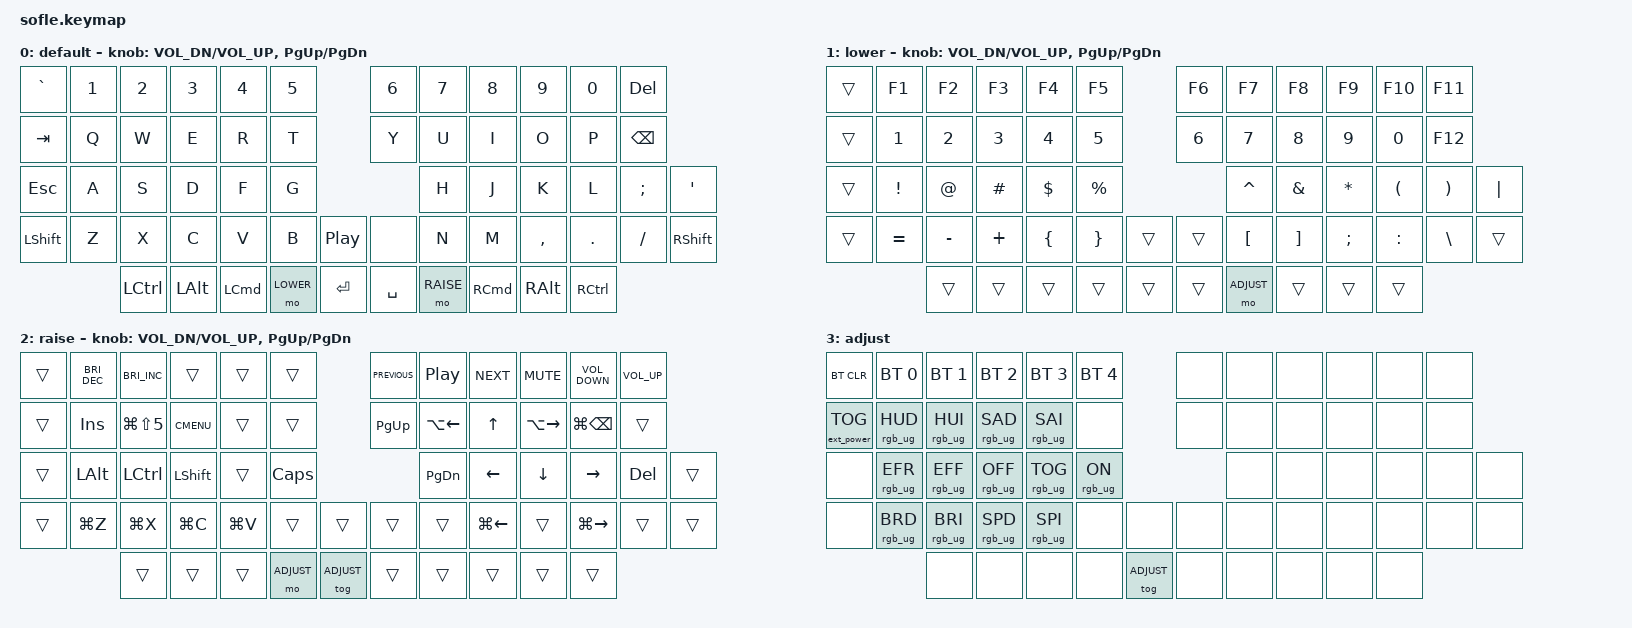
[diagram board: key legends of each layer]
/*
 * Copyright (c) 2020 The ZMK Contributors
 *
 * SPDX-License-Identifier: MIT
 */

#define BASE 0
#define LOWER 1
#define RAISE 2
#define ADJUST 3

/*
 * RGB test support for PandaKB Sofle Choc.
 * PandaKB's Sofle Choc ZMK branch uses Pro Micro pin 6 for WS2812 data.
 */

#include <dt-bindings/led/led.h>
#include <behaviors.dtsi>
#include <dt-bindings/zmk/bt.h>
#include <dt-bindings/zmk/ext_power.h>
#include <dt-bindings/zmk/keys.h>
#include <dt-bindings/zmk/rgb.h>

&pinctrl {
    spi3_default: spi3_default {
        group1 { psels = <NRF_PSEL(SPIM_MOSI, 0, 6)>; };
    };

    spi3_sleep: spi3_sleep {
        group1 {
            psels = <NRF_PSEL(SPIM_MOSI, 0, 6)>;
            low-power-enable;
        };
    };
};

&spi3 {
    compatible = "nordic,nrf-spim";
    status = "okay";
    pinctrl-0 = <&spi3_default>;
    pinctrl-1 = <&spi3_sleep>;
    pinctrl-names = "default", "sleep";

    led_strip: ws2812@0 {
        compatible = "worldsemi,ws2812-spi";
        label = "WS2812";

        /* SPI */

        reg = <0>; /* ignored, but necessary for SPI bindings */
        spi-max-frequency = <4000000>;

        /* WS2812 */

        chain-length = <29>;
        spi-one-frame = <0x70>;
        spi-zero-frame = <0x40>;
        color-mapping = <LED_COLOR_ID_GREEN LED_COLOR_ID_RED LED_COLOR_ID_BLUE>;
    };
};

/ {
    chosen {
        zmk,underglow = &led_strip;
        zmk,physical-layout = &josefadamcik_sofle_layout;
    };
};

/* END temporary RGB support section */

/ {
    keymap {
        compatible = "zmk,keymap";

        default_layer {
            display-name = "default";

            // ------------------------------------------------------------------------------------------------------------------
            // |   `   |  1  |  2  |  3   |  4   |  5   |                         |  6   |  7    |  8    |  9   |   0   |       |
            // |  TAB  |  Q  |  W  |  E   |  R   |  T   |                         |  Y   |  U    |  I    |  O   |   P   | BKSPC |
            // |  ESC  |  A  |  S  |  D   |  F   |  G   |                         |  H   |  J    |  K    |  L   |   ;   |   '   |
            // | SHIFT |  Z  |  X  |  C   |  V   |  B   |  PLAY  |        |       |  N   |  M    |  ,    |  .   |   /   | SHIFT |
            //              | CTRL | ALT  | CMD  | LOWER|  ENTER |        | SPACE | RAISE| CMD   | ALT   | CTRL |

            bindings = <
&kp GRAVE  &kp N1  &kp N2     &kp N3    &kp N4    &kp N5                              &kp N6     &kp N7    &kp N8     &kp N9     &kp N0    &kp DEL
&kp TAB    &kp Q   &kp W      &kp E     &kp R     &kp T                               &kp Y      &kp U     &kp I      &kp O      &kp P     &kp BSPC
&kp ESC    &kp A   &kp S      &kp D     &kp F     &kp G                                      &kp H      &kp J     &kp K      &kp L      &kp SEMI  &kp SQT
&kp LSHFT  &kp Z   &kp X      &kp C     &kp V     &kp B      &kp C_PLAY_PAUSE    &none      &kp N      &kp M     &kp COMMA  &kp DOT    &kp FSLH  &kp RSHFT
                   &kp LCTRL  &kp LALT  &kp LCMD  &mo LOWER  &kp RET       &kp SPACE  &mo RAISE  &kp RCMD  &kp RALT   &kp RCTRL
            >;

            sensor-bindings = <&inc_dec_kp C_VOL_DN C_VOL_UP &inc_dec_kp PG_UP PG_DN>;
        };

        lower_layer {
            display-name = "lower";

            // TODO: Some binds are waiting for shifted keycode support.
            // ------------------------------------------------------------------------------------------------------------
            // |       |  F1 |  F2 |  F3  |  F4  |  F5  |                   |  F6  |  F7   |  F8   |  F9  |  F10  |  F11  |
            // | `     |   1 |   2 |   3  |   4  |   5  |                   |   6  |   7   |   8   |   9  |    0  |  F12  |
            // |       |  !  |  @  |  #   |  $   |  %   |                   |  ^   |  &    |  *    |  (   |   )   |   |   |
            // |       |  =  |  -  |  +   |  {   |  }   |        |  |       |  [   |  ]    |  ;    |  :   |   \   |       |
            //               |     |      |      |      |        |  | ADJ   |      |       |       |      |

            bindings = <
&trans  &kp F1     &kp F2     &kp F3    &kp F4    &kp F5                       &kp F6     &kp F7    &kp F8     &kp F9     &kp F10   &kp F11
&trans  &kp N1     &kp N2     &kp N3    &kp N4    &kp N5                       &kp N6     &kp N7    &kp N8     &kp N9     &kp N0    &kp F12
&trans  &kp EXCL   &kp AT     &kp HASH  &kp DLLR  &kp PRCNT                    &kp CARET  &kp AMPS  &kp ASTRK  &kp LPAR   &kp RPAR  &kp PIPE
&trans  &kp EQUAL  &kp MINUS  &kp PLUS  &kp LBRC  &kp RBRC   &trans    &trans  &kp LBKT   &kp RBKT  &kp SEMI   &kp COLON  &kp BSLH  &trans
                   &trans     &trans    &trans    &trans     &trans    &trans  &mo ADJUST &trans    &trans     &trans
            >;

            sensor-bindings = <&inc_dec_kp C_VOL_DN C_VOL_UP &inc_dec_kp PG_UP PG_DN>;
        };

        raise_layer {
            display-name = "raise";

            // ------------------------------------------------------------------------------------------------------------
            // |     | BRI- | BRI+ |       |       |      |                 | PREV | PLAY | NEXT | MUTE | VOL- | VOL+ |
            // |     | INS  | SCRN | MENU  |       |      |                 | PGUP | BACK |  UP  | FWD  | WDEL |      |
            // |     | ALT  | CTRL | SHIFT |       | CAPS |                 | PGDN | LEFT | DOWN | RIGHT| DEL  |      |
            // |     | UNDO | CUT  | COPY  | PASTE |      |      |   |      |      | HOME |      | END  |      |      |
            //              |      |       |       | ADJ  |      |   |      |      |      |       |      |

            bindings = <
&trans             &kp C_BRIGHTNESS_DEC  &kp C_BRIGHTNESS_INC  &trans       &trans     &trans                      &kp C_PREVIOUS  &kp C_PLAY_PAUSE  &kp C_NEXT  &kp K_MUTE     &kp C_VOLUME_DOWN  &kp C_VOLUME_UP
&trans             &kp INS               &kp LG(LS(NUMBER_5))  &kp K_CMENU  &trans     &trans                      &kp PG_UP       &kp LA(LEFT)      &kp UP      &kp LA(RIGHT)  &kp LG(BACKSPACE)  &trans
&trans             &kp LALT              &kp LCTRL             &kp LSHFT    &trans     &kp CLCK                    &kp PG_DN       &kp LEFT          &kp DOWN    &kp RIGHT      &kp DEL            &trans
&trans             &kp LG(Z)             &kp LG(X)             &kp LG(C)    &kp LG(V)  &trans    &trans    &trans  &trans          &kp LG(LEFT)      &trans      &kp LG(RIGHT)  &trans             &trans
                                         &trans                &trans       &trans     &mo ADJUST  &tog ADJUST  &trans  &trans          &trans            &trans      &trans
            >;

            sensor-bindings = <&inc_dec_kp C_VOL_DN C_VOL_UP &inc_dec_kp PG_UP PG_DN>;
        };

        adjust_layer {
            display-name = "adjust";

            // ----------------------------------------------------------------------------------------------------------------------------
            // | BTCLR  |  BT1    |  BT2    |   BT3   |   BT4   |   BT5   |                  |      |      |       |      |       |       |
            // | EXTPWR | RGB_HUD | RGB_HUI | RGB_SAD | RGB_SAI |         |                  |      |      |       |      |       |       |
            // |        | RGB_EFR | RGB_EFF | RGB_OFF | RGB_TOG | RGB_ON  |                  |      |      |       |      |       |       |
            // |        | RGB_BRD | RGB_BRI | RGB_SPD | RGB_SPI |         |         | |      |      |      |       |      |       |       |
            //                    |         |         |         |         |         | |      |      |      |       |      |

            bindings = <
&bt BT_CLR         &bt BT_SEL 0     &bt BT_SEL 1     &bt BT_SEL 2     &bt BT_SEL 3     &bt BT_SEL 4                               &none  &none  &none  &none  &none  &none
&ext_power EP_TOG  &rgb_ug RGB_HUD  &rgb_ug RGB_HUI  &rgb_ug RGB_SAD  &rgb_ug RGB_SAI  &none                                      &none  &none  &none  &none  &none  &none
&none              &rgb_ug RGB_EFR  &rgb_ug RGB_EFF  &rgb_ug RGB_OFF  &rgb_ug RGB_TOG  &rgb_ug RGB_ON                             &none  &none  &none  &none  &none  &none
&none              &rgb_ug RGB_BRD  &rgb_ug RGB_BRI  &rgb_ug RGB_SPD  &rgb_ug RGB_SPI  &none            &none              &none  &none  &none  &none  &none  &none  &none
                                    &none            &none            &none            &none            &tog ADJUST        &none  &none  &none  &none  &none
            >;
        };
    };
};
